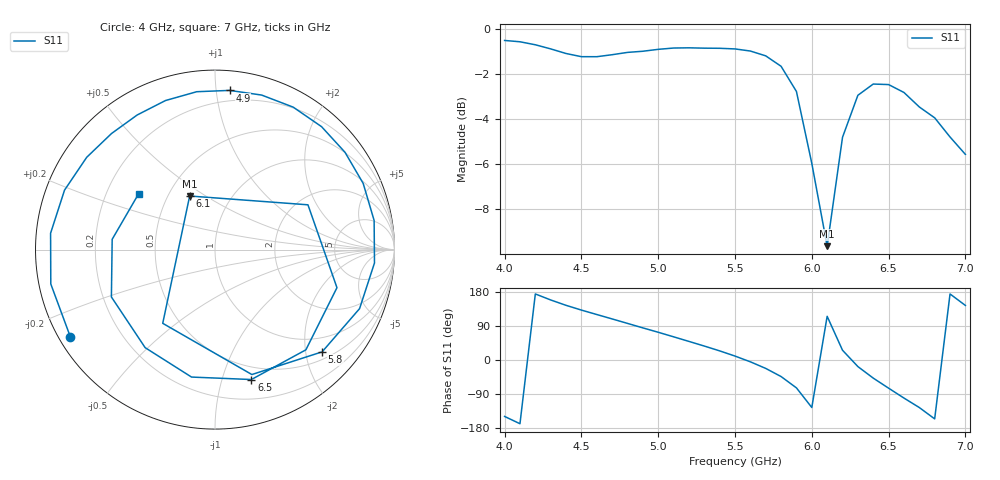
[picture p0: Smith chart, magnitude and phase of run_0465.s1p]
! Touchstone file exported from HFSS 2024.2.0
!  File:  C:/Users/wsak9/Desktop/Sim Fast/Widenad Patch/WP_AI_V1_sweep.aedt
!  Generated:  11:18:43 AM Oct 14, 2026
!  Design:  A1_model
!  Project:  WP_AI_V1_sweep
!  Setup:  Setup1
!  Solution:  Sweep
! Variables:
!  Air_gap = 2.45mm
!  Curve_Amp1 = 1.73
!  Curve_len1 = 1
!  Curve_pos = 9.915mm
!  Extra = 4.31mm
!  H_sub = 0.79mm
!  L_Patch = 15.83mm
!  L_Patch1 = 20.12mm
!  Sx = 0.3mm
!  Sy = 2.29mm
!  WS = 0.67mm
!  W_Patch = 14.29mm
!  W_Patch1 = 15.81mm
!Data is not renormalized
# GHz S MA
! Terminal data exported
! Port[1] = 1
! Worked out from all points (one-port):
!   31 points, 4 GHz to 7 GHz, reference per port
!   lowest |S11| = -9.6 dB at 6.1 GHz (marker M1), VSWR 1.99
!   |S11| at or under -10 dB: nowhere
!   S11 on the Smith chart (normalised r, x): 4 GHz: 0.03, -0.28; 4.9 GHz: 0.13, +1.09; 5.8 GHz: 0.66, -2.34; 6.1 GHz: 0.64, +0.43; 6.5 GHz: 0.37, -1.25; 7 GHz: 0.34, +0.29
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4  0.941 -148.9
4.1  0.9347 -168.2
4.2  0.9206 174.3
4.3  0.9014 158.4
4.4  0.8805 144.3
4.6  0.8663 120.0
4.8  0.8855 96.6
4.9  0.8907 84.7
5  0.8994 73.2
5.1  0.9054 61.2
5.2  0.9064 49.1
5.4  0.9042 24.1
5.5  0.9013 10.4
5.6  0.8917 -4.8
5.7  0.8701 -22.2
5.8  0.825 -43.7
5.9  0.7258 -73.6
6  0.5035 -125.3
6.1  0.3303 115.3
6.2  0.5749 25.7
6.3  0.7119 -17.3
6.4  0.7538 -47.8
6.5  0.7517 -74.4
6.6  0.7221 -100.4
6.7  0.6708 -125.5
6.8  0.6347 -155.4
6.9  0.5757 174.3
7  0.5269 144.0
